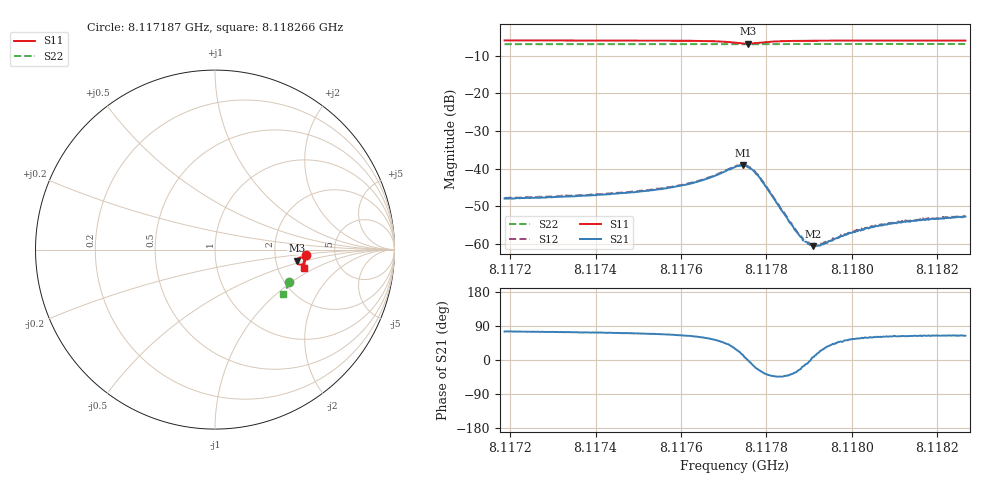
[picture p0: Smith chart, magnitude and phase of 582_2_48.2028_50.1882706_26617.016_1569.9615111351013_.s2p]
#  HZ  S  RI  R  50.00
! Rohde & Schwarz Vector Network Analyzer
! Rohde-Schwarz,ZNB20-2Port,1311601062101988,3.16
! Created: UTC 3/20/2024, 12:02:08 PM
! freq[Hz]  re:S11  im:S11  re:S21  im:S21  re:S12  im:S12  re:S22  im:S22
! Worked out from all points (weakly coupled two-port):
!   401 points, 8.117187 GHz to 8.118266 GHz, reference 50 ohm
!   highest |S21| = -39.10 dB at 8.117746 GHz (marker M1); lowest = -60.6 dB at 8.11791 GHz (marker M2)
!   lowest |S11| = -6.7 dB at 8.117756 GHz (marker M3), VSWR 2.70, Z = 131 - j20.4 ohm
!   |S11| at or under -10 dB: nowhere
!   |S22| runs from -6.9 to -6.8 dB; largest |S21 - S12| = 0.00045
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8.117187e9  0.5059 -0.0298  0.00102 0.00387  0.00105 0.00391  0.4144 -0.1808
8.1173678e9  0.5042 -0.0448  0.00127 0.00415  0.00139 0.00424  0.4094 -0.1925
8.1175485e9  0.5005 -0.0622  0.00195 0.00495  0.00205 0.00502  0.4042 -0.2043
8.1176403e9  0.4947 -0.0743  0.00327 0.00589  0.00334 0.00601  0.4012 -0.2102
8.1177266e9  0.4668 -0.082  0.00915 0.00527  0.00925 0.00529  0.3974 -0.2155
8.1177455e9  0.457 -0.071  0.0108 0.00242  0.0111 0.00235  0.3966 -0.2159
8.1177563e9  0.4558 -0.0611  0.0104 -5e-05  0.0109 -7.38e-06  0.3963 -0.2162
8.1177698e9  0.4611 -0.05  0.00908 -0.00248  0.00933 -0.00245  0.3963 -0.2165
8.117786e9  0.4722 -0.0438  0.00649 -0.00359  0.00651 -0.0037  0.3963 -0.2173
8.1178588e9  0.4962 -0.057  0.00145 -0.0011  0.00148 -0.00116  0.395 -0.2226
8.1178804e9  0.4976 -0.0612  0.00113 -0.000502  0.00116 -0.000529  0.3943 -0.224
8.1178966e9  0.4983 -0.064  0.00102 -0.000163  0.001 -0.000111  0.394 -0.2252
8.1179074e9  0.4986 -0.0654  0.000945 0.000108  0.000969 3.93e-05  0.3936 -0.2259
8.1179101e9  0.4987 -0.0659  0.000923 0.000116  0.000947 0.000117  0.3937 -0.2259
8.1179209e9  0.4989 -0.0676  0.000898 0.000297  0.000927 0.000249  0.3933 -0.2267
8.117929e9  0.499 -0.0686  0.000887 0.000419  0.000913 0.000428  0.3928 -0.2272
8.1179479e9  0.4991 -0.071  0.000866 0.000664  0.00087 0.000666  0.3923 -0.2284
8.1179803e9  0.4991 -0.0751  0.000838 0.00097  0.00087 0.000997  0.3912 -0.2305
8.1180127e9  0.4989 -0.0785  0.000818 0.00122  0.000889 0.00126  0.3902 -0.2326
8.1180882e9  0.4981 -0.0858  0.000854 0.00162  0.000876 0.00168  0.3875 -0.2372
8.1181719e9  0.497 -0.0931  0.000912 0.00187  0.00094 0.00193  0.3845 -0.2423
8.1182663e9  0.4956 -0.101  0.00101 0.00206  0.00104 0.00212  0.3813 -0.2482
